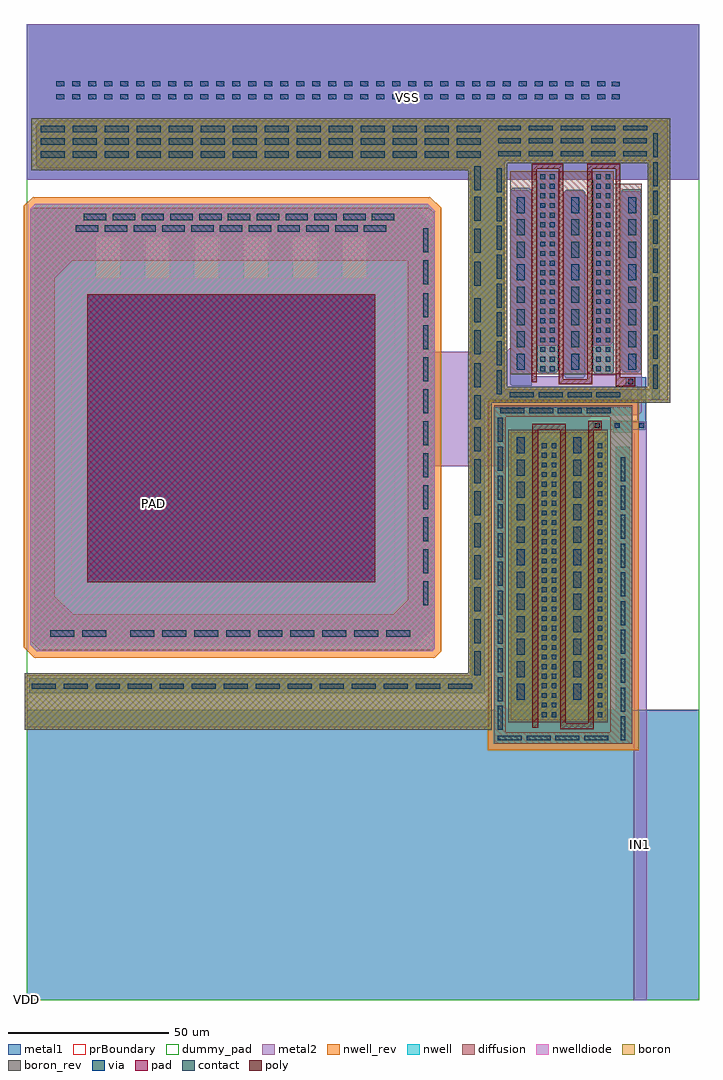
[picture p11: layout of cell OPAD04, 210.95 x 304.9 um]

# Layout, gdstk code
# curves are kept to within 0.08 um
import gdstk
lib = gdstk.Library(unit=1e-6, precision=1e-09)
def R(c, l, rs):  # rectangles x0, y0, x1, y1
    for r in rs: c.add(gdstk.rectangle(r[:2], r[2:], *l))
def A(c, l, x, y, w, h, nx, ny, dx, dy):  # array of equal rectangles
    R(c, l, [(x+i*dx, y+j*dy, x+i*dx+w, y+j*dy+h) for i in range(nx) for j in range(ny)])
def P(c, l, *ps):  # polygons
    for p in ps: c.add(gdstk.Polygon(p, *l))
nwell = (1, 0)
diffusion = (2, 0)
nwell_rev = (3, 0)
poly = (4, 0)
boron = (5, 0)
boron_rev = (6, 0)
contact = (7, 0)
metal1 = (8, 0)
via = (9, 0)
metal2 = (10, 0)
pad = (11, 0)
prBoundary = (28, 0)
nwelldiode = (38, 0)
dummy_pad = (40, 0)

opad04 = lib.new_cell('OPAD04')
R(opad04, nwell, [(145.9,80,189.15,185.25)])
P(opad04, nwell, [(3.15,108.95),(1.05,111.05),(1.05,247.25),(2.6,248.8),(125.25,248.8),(127.45,246.6),(127.45,109.75),(126.65,108.95)])
R(opad04, diffusion, [(151.1,87.4,180.8,177.4)])
P(opad04, diffusion, [(3.95,109.3),(1.05,112.2),(1.05,246.563),(2.037,247.55),(119,247.55),(119,231),(14.214,231),(8.7,225.486),(8.7,126.204),(14.404,120.5),(114.449,120.5),(119,125.051),(119,247.55),(125.563,247.55),(127.35,245.763),(127.35,109.952),(126.698,109.3)],
  [(0,85.15),(0,101.45),(138.55,101.45),(138.55,259.85),(3.814,259.85),(2.85,260.814),(2.85,273.45),(4.05,274.65),(144.45,274.65),(144.45,85.15)],
  [(146.05,80.1),(146.05,185.85),(182.3,185.85),(182.3,182.2),(149.6,182.2),(149.6,83.6),(182.3,83.6),(182.3,185.85),(189.15,185.85),(189.15,80.1)],
  [(151,195.45),(151,258.95),(183.3,258.95),(183.3,254.95),(192.15,254.95),(192.15,195.45)],
  [(144,187.35),(144,274.65),(194.65,274.65),(194.65,262.15),(149.35,262.15),(149.35,190.85),(194.65,190.85),(194.65,274.65),(200.15,274.65),(200.15,187.35)])
R(opad04, nwell_rev, [(143.9,78,191.15,187.25)])
P(opad04, nwell_rev, [(2.322,106.95),(-0.95,110.222),(-0.95,248.078),(1.772,250.8),(126.078,250.8),(129.45,247.428),(129.45,108.922),(127.478,106.95)])
P(opad04, poly, [(166.6,84.65),(166.6,178.1),(159.7,178.1),(159.7,85),(157.9,85),(157.9,180),(168.4,180),(168.4,86.5),(175.3,86.5),(175.3,180.9),(179.6,180.9),(179.6,178),(177.1,178),(177.1,84.65)],
  [(183.9,191.7),(183.9,259.65),(176.6,259.65),(176.6,192.35),(166.1,192.35),(166.1,259.65),(159.2,259.65),(159.2,193.05),(157.7,193.05),(157.7,261.25),(167.6,261.25),(167.6,193.95),(175.1,193.95),(175.1,261.25),(185.4,261.25),(185.4,194.6),(190.1,194.6),(190.1,191.7)])
R(opad04, boron, [(150.4,86.7,181.5,178.15)])
P(opad04, boron, [(-0.7,84.45),(-0.7,102.15),(137.85,102.15),(137.85,259.15),(1.4,259.15),(1.4,275.45),(145.25,275.45),(145.25,84.45)],
  [(145.25,186.65),(145.25,275.45),(193.9,275.45),(193.9,261.45),(150.05,261.45),(150.05,191.6),(193.9,191.6),(193.9,275.45),(201,275.45),(201,186.65)])
R(opad04, boron_rev, [(150.4,86.7,181.5,178.15)])
P(opad04, boron_rev, [(-0.7,84.45),(-0.7,102.15),(137.85,102.15),(137.85,259.15),(1.4,259.15),(1.4,275.45),(145.25,275.45),(145.25,84.45)],
  [(145.25,186.65),(145.25,275.45),(193.9,275.45),(193.9,261.45),(150.05,261.45),(150.05,191.6),(193.9,191.6),(193.9,275.45),(201,275.45),(201,186.65)])
A(opad04, contact, 147.1, 81.1, 7.5, 1.5, 4, 1, 9, 0)
A(opad04, contact, 185.45, 81.1, 1.5, 7.5, 1, 10, 0, 9)
A(opad04, contact, 147.1, 84.35, 1.5, 7.5, 1, 11, 0, 9)
A(opad04, contact, 160.9, 88.4, 1.5, 1.5, 1, 29, 0, 3)
A(opad04, contact, 163.9, 88.4, 1.5, 1.5, 1, 29, 0, 3)
A(opad04, contact, 178.3, 88.4, 1.5, 1.5, 1, 29, 0, 3)
A(opad04, contact, 1.55, 97.3, 7.5, 1.5, 14, 1, 10, 0)
A(opad04, contact, 153.1, 100.85, 2.5, 5, 1, 5, 0, 7)
A(opad04, contact, 170.6, 100.85, 2.5, 5, 1, 5, 0, 7)
A(opad04, contact, 139.75, 101.45, 2, 7.5, 1, 10, 0, 10)
A(opad04, contact, 32.25, 113.55, 7.5, 2, 9, 1, 10, 0)
A(opad04, contact, 123.85, 123.25, 1.5, 7.5, 1, 10, 0, 10)
A(opad04, contact, 153.1, 142.85, 2.5, 5, 1, 4, 0, 7)
A(opad04, contact, 170.6, 142.85, 2.5, 5, 1, 4, 0, 7)
A(opad04, contact, 147.9, 183.35, 7.5, 1.5, 4, 1, 9, 0)
A(opad04, contact, 150.9, 188.35, 7.5, 1.5, 4, 1, 9, 0)
A(opad04, contact, 146.85, 189.3, 1.5, 7.5, 1, 8, 0, 9)
A(opad04, contact, 160.4, 196.45, 1.5, 1.5, 1, 5, 0, 3)
A(opad04, contact, 163.4, 196.45, 1.5, 1.5, 1, 3, 0, 3)
A(opad04, contact, 177.8, 196.45, 1.5, 1.5, 1, 3, 0, 3)
A(opad04, contact, 180.8, 196.45, 1.5, 1.5, 1, 7, 0, 3)
A(opad04, contact, 195.65, 200.25, 1.5, 7.5, 1, 8, 0, 9)
A(opad04, contact, 153, 203.85, 2.5, 5, 1, 3, 0, 7)
A(opad04, contact, 170.1, 203.85, 2.5, 5, 1, 3, 0, 7)
A(opad04, contact, 187.9, 203.85, 2.5, 5, 1, 3, 0, 7)
A(opad04, contact, 163.4, 208.45, 1.5, 1.5, 1, 3, 0, 3)
A(opad04, contact, 177.8, 208.45, 1.5, 1.5, 1, 7, 0, 3)
A(opad04, contact, 160.4, 214.45, 1.5, 1.5, 1, 3, 0, 3)
A(opad04, contact, 163.4, 220.45, 1.5, 1.5, 1, 3, 0, 3)
A(opad04, contact, 180.8, 220.45, 1.5, 1.5, 1, 7, 0, 3)
A(opad04, contact, 160.4, 226.45, 1.5, 1.5, 1, 3, 0, 3)
A(opad04, contact, 163.4, 232.45, 1.5, 1.5, 1, 3, 0, 3)
A(opad04, contact, 177.8, 232.45, 1.5, 1.5, 1, 7, 0, 3)
A(opad04, contact, 160.4, 238.45, 1.5, 1.5, 1, 3, 0, 3)
A(opad04, contact, 15.3, 240.05, 7, 2, 11, 1, 9, 0)
A(opad04, contact, 17.8, 243.55, 7, 2, 10, 1, 9, 0)
A(opad04, contact, 163.4, 244.45, 1.5, 1.5, 1, 3, 0, 3)
A(opad04, contact, 180.8, 244.45, 1.5, 1.5, 1, 5, 0, 3)
A(opad04, contact, 160.4, 250.45, 1.5, 1.5, 1, 3, 0, 3)
A(opad04, contact, 4.3, 263.15, 7.5, 2, 14, 3, 10, 4)
A(opad04, contact, 147.3, 263.65, 7, 1.5, 1, 3, 0, 4)
A(opad04, contact, 156.8, 263.65, 7.5, 1.5, 1, 3, 0, 4)
A(opad04, contact, 166.8, 263.65, 7, 1.5, 1, 3, 0, 4)
A(opad04, contact, 176.3, 263.65, 7.5, 1.5, 1, 3, 0, 4)
R(opad04, contact, [(7.35,113.55,14.85,115.55), (17.35,113.55,24.85,115.55), (177.4,178.7,178.9,180.2), (195.65,190.95,197.15,198.45), (187.9,192.4,189.4,193.9), (139.75,201.8,141.75,209.3), (139.75,211.8,141.75,219.3), (139.75,223.15,141.75,230.65), (123.85,223.6,125.35,231.1), (153,231.85,155.5,236.85), (170.1,231.85,172.6,236.85), (187.9,231.85,190.4,236.85), (139.75,233.5,141.75,241), (123.85,233.6,125.35,241.1), (153,238.85,155.5,243.85), (170.1,238.85,172.6,243.85), (187.9,238.85,190.4,243.85), (139.75,243.5,141.75,251), (107.8,243.55,114.7,245.55), (139.75,253,141.75,260.5), (163.4,256.45,164.9,257.95), (177.8,256.45,179.3,257.95), (186.3,263.65,193.65,265.15), (186.3,267.65,193.7,269.15), (186.3,271.65,193.75,273.15)])
R(opad04, metal1, [(0,0,210,90.7), (0,256.2,210,304.9)])
P(opad04, metal1, [(0.75,95.85),(0.75,100.5),(138.95,100.5),(138.95,256.2),(0,256.2),(0,304.9),(189,304.9),(189,256.2),(146.452,256.2),(143.05,252.798),(143.05,95.85)],
  [(141.75,187.75),(141.75,256.2),(0,256.2),(0,304.9),(210,304.9),(210,256.2),(197.65,256.2),(197.65,187.75),(195.15,187.75),(195.15,256.2),(183.3,256.2),(183.3,196.207),(182.593,195.5),(177.7,195.5),(176.8,196.4),(176.8,256.2),(166,256.2),(166,196.509),(165.441,195.95),(159.862,195.95),(159.45,196.362),(159.45,256.2),(148.95,256.2),(148.95,190.35),(188.9,190.35),(188.9,187.75)],
  [(0,0),(0,90.7),(145.549,90.7),(145.8,90.951),(145.8,185.4),(183.3,185.4),(183.3,182.75),(149.1,182.75),(149.1,91.601),(150.001,90.7),(159.35,90.7),(159.85,91.2),(159.85,174.644),(160.656,175.45),(165.246,175.45),(166.4,174.296),(166.4,91.355),(167.055,90.7),(176.95,90.7),(176.95,174.6),(180.65,174.6),(180.65,90.7),(183.95,90.7),(183.95,172.85),(188.3,172.85),(188.3,90.7),(210,90.7),(210,0)],
  [(2.45,110.8),(1.75,111.5),(1.75,245.949),(3.351,247.55),(29.2,247.55),(29.2,238.55),(21.5,238.55),(21.5,225.55),(29.2,225.55),(29.2,247.55),(44.6,247.55),(44.6,238.55),(36.9,238.55),(36.9,225.55),(44.6,225.55),(44.6,247.55),(60,247.55),(60,238.55),(52.3,238.55),(52.3,225.55),(60,225.55),(60,247.55),(75.4,247.55),(75.4,238.55),(67.7,238.55),(67.7,225.55),(75.4,225.55),(75.4,247.55),(90.8,247.55),(90.8,238.55),(83.1,238.55),(83.1,225.55),(90.8,225.55),(90.8,247.55),(106.2,247.55),(106.2,238.55),(98.5,238.55),(98.5,225.55),(106.2,225.55),(106.2,247.55),(121.25,247.55),(127.4,241.4),(127.3,116.387),(121.713,110.8)],
  [(151.9,92.45),(151.1,93.25),(151.1,178.198),(151.802,178.9),(156.948,178.9),(157.8,178.048),(157.8,93.052),(157.198,92.45)],
  [(169.652,92.35),(168.7,93.302),(168.7,178.349),(169.451,179.1),(174.9,179.1),(174.9,93),(174.25,92.35)],
  [(0,0),(0,90.7),(185.65,90.7),(185.65,90.702),(185.652,90.7),(189,90.7),(189,0)],
  [(151.5,191.85),(150.95,192.4),(150.95,253.05),(151.7,253.8),(156.848,253.8),(157.65,252.998),(157.65,191.85)],
  [(186.502,196.15),(185.7,196.952),(185.7,252.797),(186.103,253.2),(191.55,253.2),(191.9,252.85),(191.9,197.05),(191,196.15)],
  [(176.9,178.2),(176.9,180.9),(190.6,180.9),(190.6,191.9),(187.1,191.9),(187.1,194.6),(193.45,194.6),(193.45,178.2)],
  [(168.452,194.25),(167.7,195.002),(167.7,252.35),(168.5,253.15),(173.6,253.15),(174.4,252.35),(174.4,194.8),(173.85,194.25)])
A(opad04, via, 163.4, 205.45, 1.5, 1.5, 1, 5, 0, 12)
A(opad04, via, 177.8, 205.45, 1.5, 1.5, 1, 3, 0, 24)
A(opad04, via, 160.4, 211.45, 1.5, 1.5, 1, 4, 0, 12)
A(opad04, via, 9.2, 281.45, 2.5, 1.5, 27, 2, 5, 4)
A(opad04, via, 143.7, 281.45, 2.5, 1.5, 4, 2, 5, 4)
A(opad04, via, 163.2, 281.45, 2.5, 1.5, 4, 2, 5, 4)
R(opad04, via, [(153.1,93.85,155.6,98.85), (170.6,93.85,173.1,98.85), (18.8,130.55,108.8,220.55), (153.1,135.85,155.6,140.85), (170.6,135.85,173.1,140.85), (153.1,170.85,155.6,175.85), (170.6,170.85,173.1,175.85), (183.7,178.7,185.2,180.2), (191.35,178.7,192.85,180.2), (153,196.85,155.5,201.85), (170.1,196.85,172.6,201.85), (187.9,196.85,190.4,201.85), (180.8,217.45,182.3,218.95), (153,224.85,155.5,229.85), (170.1,224.85,172.6,229.85), (187.9,224.85,190.4,229.85), (180.8,241.45,182.3,242.95), (153,245.85,155.5,250.85), (170.1,245.85,172.6,250.85), (187.9,245.85,190.4,250.85), (182.7,281.4,185.2,282.9), (182.7,285.4,185.2,286.9)])
R(opad04, metal2, [(0,256.2,210,304.9)])
P(opad04, metal2, [(189.5,0),(189.5,177.2),(183.2,177.2),(183.2,180.7),(193.65,180.7),(193.65,0)],
  [(14.751,125.55),(13.8,126.501),(13.8,224.7),(14.65,225.55),(111.099,225.55),(115.1,221.549),(115.1,127.652),(112.998,125.55)],
  [(159.96,204.4),(159.45,204.91),(159.45,256.2),(0,256.2),(0,304.9),(210,304.9),(210,256.2),(183.2,256.2),(183.2,205.651),(181.949,204.4),(177.4,204.4),(177.05,204.75),(177.05,256.2),(166,256.2),(166,205.058),(165.342,204.4)],
  [(152.5,92.2),(151.6,93.1),(151.6,165.349),(150.149,166.8),(116.25,166.8),(115.1,165.65),(115.1,163.6),(112.35,163.6),(112.35,204.9),(115.1,204.9),(115.1,203.25),(115.8,202.55),(149.796,202.55),(150.95,203.704),(150.95,252.288),(151.612,252.95),(156.596,252.95),(157.65,251.896),(157.65,195.7),(158.55,194.8),(166.299,194.8),(167.7,196.201),(167.7,252.099),(168.351,252.75),(173.315,252.75),(175.1,250.965),(175.1,196.7),(176.45,195.35),(184.049,195.35),(185.7,197.001),(185.7,252.22),(186.18,252.7),(191.35,252.7),(192,252.05),(192,183.801),(190.949,182.75),(176.601,182.75),(175,181.149),(175,93.053),(174.547,92.6),(169.25,92.6),(168.7,93.15),(168.7,174.846),(166.546,177),(158,177),(157.25,176.25),(157.25,92.65),(156.8,92.2)])
R(opad04, pad, [(18.8,130.55,108.8,220.55)])
R(opad04, prBoundary, [(0,0,210,304.9)])
P(opad04, nwelldiode, [(3.15,108.95),(1.05,111.05),(1.05,247.25),(2.6,248.8),(125.25,248.8),(127.45,246.6),(127.45,109.75),(126.65,108.95)])
R(opad04, dummy_pad, [(0,0,210,304.9)])
opad04.add(gdstk.Label('VSS', (119,281.8), layer=10, texttype=7))
opad04.add(gdstk.Label('PAD', (39.45,155.05), layer=10, texttype=7))
opad04.add(gdstk.Label('IN1', (191.75,48.6), layer=10, texttype=7))
opad04.add(gdstk.Label('VDD', (0.001,0.001), layer=8, texttype=7))

lib.write_gds('OPAD04.gds')
